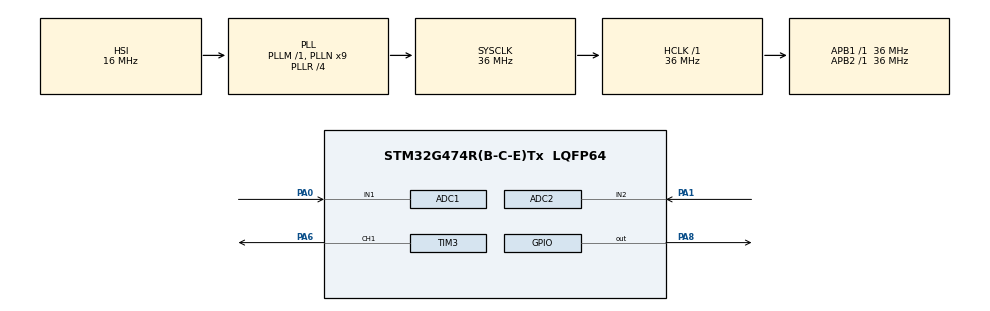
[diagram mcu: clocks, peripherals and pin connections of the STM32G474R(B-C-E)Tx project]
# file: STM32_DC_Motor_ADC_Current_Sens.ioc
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ADC1.Channel-0\#ChannelRegularConversion=ADC_CHANNEL_1
ADC1.ClockPrescaler=ADC_CLOCK_ASYNC_DIV256
ADC1.ContinuousConvMode=ENABLE
ADC1.DMAContinuousRequests=ENABLE
ADC1.NbrOfConversionFlag=1
ADC1.OffsetNumber-0\#ChannelRegularConversion=ADC_OFFSET_NONE
ADC1.Rank-0\#ChannelRegularConversion=1
ADC1.SamplingTime-0\#ChannelRegularConversion=ADC_SAMPLETIME_2CYCLES_5
ADC1.master=1
ADC2.Channel-0\#ChannelRegularConversion=ADC_CHANNEL_2
ADC2.ClockPrescaler=ADC_CLOCK_ASYNC_DIV256
ADC2.ContinuousConvMode=ENABLE
ADC2.DMAContinuousRequests=ENABLE
ADC2.NbrOfConversionFlag=1
ADC2.OffsetNumber-0\#ChannelRegularConversion=ADC_OFFSET_NONE
ADC2.Rank-0\#ChannelRegularConversion=1
ADC2.SamplingTime-0\#ChannelRegularConversion=ADC_SAMPLETIME_2CYCLES_5
Dma.ADC1.0.Direction=DMA_PERIPH_TO_MEMORY
Dma.ADC1.0.EventEnable=DISABLE
Dma.ADC1.0.Instance=DMA1_Channel1
Dma.ADC1.0.MemDataAlignment=DMA_MDATAALIGN_HALFWORD
Dma.ADC1.0.MemInc=DMA_MINC_ENABLE
Dma.ADC1.0.Mode=DMA_CIRCULAR
Dma.ADC1.0.PeriphDataAlignment=DMA_PDATAALIGN_HALFWORD
Dma.ADC1.0.PeriphInc=DMA_PINC_DISABLE
Dma.ADC1.0.Polarity=HAL_DMAMUX_REQ_GEN_RISING
Dma.ADC1.0.Priority=DMA_PRIORITY_LOW
Dma.ADC1.0.RequestNumber=1
Dma.ADC1.0.SignalID=NONE
Dma.ADC1.0.SyncEnable=DISABLE
Dma.ADC1.0.SyncPolarity=HAL_DMAMUX_SYNC_NO_EVENT
Dma.ADC1.0.SyncRequestNumber=1
Dma.ADC1.0.SyncSignalID=NONE
Dma.ADC2.1.Direction=DMA_PERIPH_TO_MEMORY
Dma.ADC2.1.EventEnable=DISABLE
Dma.ADC2.1.Instance=DMA1_Channel2
Dma.ADC2.1.MemDataAlignment=DMA_MDATAALIGN_HALFWORD
Dma.ADC2.1.MemInc=DMA_MINC_ENABLE
Dma.ADC2.1.Mode=DMA_CIRCULAR
Dma.ADC2.1.PeriphDataAlignment=DMA_PDATAALIGN_HALFWORD
Dma.ADC2.1.PeriphInc=DMA_PINC_DISABLE
Dma.ADC2.1.Polarity=HAL_DMAMUX_REQ_GEN_RISING
Dma.ADC2.1.Priority=DMA_PRIORITY_LOW
Dma.ADC2.1.RequestNumber=1
Dma.ADC2.1.SignalID=NONE
Dma.ADC2.1.SyncEnable=DISABLE
Dma.ADC2.1.SyncPolarity=HAL_DMAMUX_SYNC_NO_EVENT
Dma.ADC2.1.SyncRequestNumber=1
Dma.ADC2.1.SyncSignalID=NONE
Dma.Request0=ADC1
Dma.Request1=ADC2
Mcu.Family=STM32G4
Mcu.Name=STM32G474R(B-C-E)Tx
Mcu.Package=LQFP64
NVIC.DMA1_Channel1_IRQn=true\:0\:0\:false\:false\:true\:false\:true\:true
NVIC.DMA1_Channel2_IRQn=true\:0\:0\:false\:false\:true\:false\:true\:true
NVIC.PriorityGroup=NVIC_PRIORITYGROUP_4
PA0.Mode=IN1-Single-Ended
PA0.Signal=ADC1_IN1
PA1.Mode=IN2-Single-Ended
PA1.Signal=ADC2_IN2
PA6.Signal=S_TIM3_CH1
PA8.Signal=GPIO_Output
PC14-OSC32_IN.Mode=LSE-External-Oscillator
PC14-OSC32_IN.Signal=RCC_OSC32_IN
PC15-OSC32_OUT.Mode=LSE-External-Oscillator
PC15-OSC32_OUT.Signal=RCC_OSC32_OUT
PF0-OSC_IN.Mode=HSE-External-Oscillator
PF0-OSC_IN.Signal=RCC_OSC_IN
PF1-OSC_OUT.Mode=HSE-External-Oscillator
PF1-OSC_OUT.Signal=RCC_OSC_OUT
ProjectManager.HeapSize=0x200
ProjectManager.StackSize=0x400
ProjectManager.TargetToolchain=STM32CubeIDE
RCC.ADC12Freq_Value=36000000
RCC.ADC345Freq_Value=36000000
RCC.AHBFreq_Value=36000000
RCC.APB1Freq_Value=36000000
RCC.APB1TimFreq_Value=36000000
RCC.APB2Freq_Value=36000000
RCC.APB2TimFreq_Value=36000000
RCC.CortexFreq_Value=36000000
RCC.EXTERNAL_CLOCK_VALUE=12288000
RCC.HCLKFreq_Value=36000000
RCC.HSE_VALUE=24000000
RCC.HSI48_VALUE=48000000
RCC.HSI_VALUE=16000000
RCC.PLLN=9
RCC.PLLR=RCC_PLLR_DIV4
RCC.RTCClockSelection=RCC_RTCCLKSOURCE_LSE
RCC.SYSCLKFreq_VALUE=36000000
RCC.SYSCLKSource=RCC_SYSCLKSOURCE_PLLCLK
RCC.USBFreq_Value=72000000
RCC.VCOOutputFreq_Value=144000000
SH.S_TIM3_CH1.0=TIM3_CH1,PWM Generation1 CH1
TIM3.Channel-PWM\ Generation1\ CH1=TIM_CHANNEL_1
TIM3.OCPolarity_1=TIM_OCPOLARITY_HIGH
TIM3.PeriodNoDither=0
TIM3.Prescaler=0
TIM3.PulseNoDither_1=100
VP_SYS_VS_DBSignals.Mode=DisableDeadBatterySignals
VP_TIM3_VS_ClockSourceINT.Mode=Internal
board=NUCLEO-G474RE

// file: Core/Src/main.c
/* USER CODE BEGIN Header */
/**
  ******************************************************************************
  * @file           : main.c
  * @brief          : Main program body
  ******************************************************************************
  * @attention
  *
  * Copyright (c) 2023 STMicroelectronics.
  * All rights reserved.
  *
  * This software is licensed under terms that can be found in the LICENSE file
  * in the root directory of this software component.
  * If no LICENSE file comes with this software, it is provided AS-IS.
  *
  ******************************************************************************
  */
/* USER CODE END Header */
#include "main.h"

/* USER CODE BEGIN Includes */
#include <math.h>
/* USER CODE END Includes */

/* USER CODE BEGIN PD */
#define ADC_BUF_LEN 10000
float avr_data;
/* USER CODE END PD */

ADC_HandleTypeDef hadc1;
ADC_HandleTypeDef hadc2;
DMA_HandleTypeDef hdma_adc1;
DMA_HandleTypeDef hdma_adc2;

TIM_HandleTypeDef htim3;

/* USER CODE BEGIN PV */
uint16_t adc1_buf[ADC_BUF_LEN];
uint16_t adc2_buf[ADC_BUF_LEN];
int data [ADC_BUF_LEN];
float rms_data;
float rms_vol_mV;
float avr_vol_mV;
int is_reversed;
int sum1;
int sum2;

/* USER CODE END PV */

void SystemClock_Config(void);
static void MX_GPIO_Init(void);
static void MX_DMA_Init(void);
static void MX_TIM3_Init(void);
static void MX_ADC1_Init(void);
static void MX_ADC2_Init(void);
/* USER CODE BEGIN PFP */
void AVR_Calculator(void);
void RMS_Calculator(void);
void Overcurrent_Handler(void);
/* USER CODE END PFP */

/* USER CODE BEGIN 0 */

void AVR_Calculator(void) {

	int i;

	for (i = 0; i < ADC_BUF_LEN; i++) {
		sum1 += adc1_buf[i];
		sum2 += adc2_buf[i];
	}

	avr_data = (float)(sum1-sum2)/ADC_BUF_LEN;
	avr_vol_mV = avr_data/4096*3300;
	sum1 = 0;
	sum2 = 0;
}
void RMS_Calculator(void) {
	AVR_Calculator();
	int i;
	float sum;
	for (i = 0; i < ADC_BUF_LEN; i++) {
		sum += (float)(((int)data[i]-avr_data)*((int)data[i]-avr_data));
	}
	rms_data = sqrt(sum/ADC_BUF_LEN);
	rms_vol_mV = rms_data/4096*3300;
	sum = 0;
}
void Overcurrent_Handler(void) {
	if (rms_vol_mV > 9.5) {
		HAL_GPIO_TogglePin(GPIOA, GPIO_PIN_8);
		HAL_Delay(4000);
		HAL_GPIO_TogglePin(GPIOA, GPIO_PIN_8);
		HAL_Delay(3000);
	}
}

/* USER CODE END 0 */

int main(void)
{

  /* MCU Configuration--------------------------------------------------------*/

  /* Reset of all peripherals, Initializes the Flash interface and the Systick. */
  HAL_Init();

  /* Configure the system clock */
  SystemClock_Config();

  /* Initialize all configured peripherals */
  MX_GPIO_Init();
  MX_DMA_Init();
  MX_TIM3_Init();
  MX_ADC1_Init();
  MX_ADC2_Init();
  /* USER CODE BEGIN 2 */
  HAL_TIM_PWM_Start(&htim3, TIM_CHANNEL_1);
  HAL_ADC_Start_DMA(&hadc1, (uint16_t*)adc1_buf, ADC_BUF_LEN);
  HAL_ADC_Start_DMA(&hadc2, (uint16_t*)adc2_buf, ADC_BUF_LEN);
  /* USER CODE END 2 */

  /* Infinite loop */
  /* USER CODE BEGIN WHILE */
  while (1)
  {
	  RMS_Calculator();
	  Overcurrent_Handler();
	  HAL_Delay(20);

    /* USER CODE END WHILE */

  }
}

void SystemClock_Config(void)
{
  RCC_OscInitTypeDef RCC_OscInitStruct = {0};
  RCC_ClkInitTypeDef RCC_ClkInitStruct = {0};

  /** Configure the main internal regulator output voltage
  */
  HAL_PWREx_ControlVoltageScaling(PWR_REGULATOR_VOLTAGE_SCALE1);

  /** Initializes the RCC Oscillators according to the specified parameters
  * in the RCC_OscInitTypeDef structure.
  */
  RCC_OscInitStruct.OscillatorType = RCC_OSCILLATORTYPE_HSI;
  RCC_OscInitStruct.HSIState = RCC_HSI_ON;
  RCC_OscInitStruct.HSICalibrationValue = RCC_HSICALIBRATION_DEFAULT;
  RCC_OscInitStruct.PLL.PLLState = RCC_PLL_ON;
  RCC_OscInitStruct.PLL.PLLSource = RCC_PLLSOURCE_HSI;
  RCC_OscInitStruct.PLL.PLLM = RCC_PLLM_DIV1;
  RCC_OscInitStruct.PLL.PLLN = 9;
  RCC_OscInitStruct.PLL.PLLP = RCC_PLLP_DIV2;
  RCC_OscInitStruct.PLL.PLLQ = RCC_PLLQ_DIV2;
  RCC_OscInitStruct.PLL.PLLR = RCC_PLLR_DIV4;
  if (HAL_RCC_OscConfig(&RCC_OscInitStruct) != HAL_OK)
  {
    Error_Handler();
  }

  /** Initializes the CPU, AHB and APB buses clocks
  */
  RCC_ClkInitStruct.ClockType = RCC_CLOCKTYPE_HCLK|RCC_CLOCKTYPE_SYSCLK
                              |RCC_CLOCKTYPE_PCLK1|RCC_CLOCKTYPE_PCLK2;
  RCC_ClkInitStruct.SYSCLKSource = RCC_SYSCLKSOURCE_PLLCLK;
  RCC_ClkInitStruct.AHBCLKDivider = RCC_SYSCLK_DIV1;
  RCC_ClkInitStruct.APB1CLKDivider = RCC_HCLK_DIV1;
  RCC_ClkInitStruct.APB2CLKDivider = RCC_HCLK_DIV1;

  if (HAL_RCC_ClockConfig(&RCC_ClkInitStruct, FLASH_LATENCY_1) != HAL_OK)
  {
    Error_Handler();
  }
}

static void MX_ADC1_Init(void)
{

  ADC_MultiModeTypeDef multimode = {0};
  ADC_ChannelConfTypeDef sConfig = {0};

  /** Common config
  */
  hadc1.Instance = ADC1;
  hadc1.Init.ClockPrescaler = ADC_CLOCK_ASYNC_DIV256;
  hadc1.Init.Resolution = ADC_RESOLUTION_12B;
  hadc1.Init.DataAlign = ADC_DATAALIGN_RIGHT;
  hadc1.Init.GainCompensation = 0;
  hadc1.Init.ScanConvMode = ADC_SCAN_DISABLE;
  hadc1.Init.EOCSelection = ADC_EOC_SINGLE_CONV;
  hadc1.Init.LowPowerAutoWait = DISABLE;
  hadc1.Init.ContinuousConvMode = ENABLE;
  hadc1.Init.NbrOfConversion = 1;
  hadc1.Init.DiscontinuousConvMode = DISABLE;
  hadc1.Init.ExternalTrigConv = ADC_SOFTWARE_START;
  hadc1.Init.ExternalTrigConvEdge = ADC_EXTERNALTRIGCONVEDGE_NONE;
  hadc1.Init.DMAContinuousRequests = ENABLE;
  hadc1.Init.Overrun = ADC_OVR_DATA_PRESERVED;
  hadc1.Init.OversamplingMode = DISABLE;
  if (HAL_ADC_Init(&hadc1) != HAL_OK)
  {
    Error_Handler();
  }

  /** Configure the ADC multi-mode
  */
  multimode.Mode = ADC_MODE_INDEPENDENT;
  if (HAL_ADCEx_MultiModeConfigChannel(&hadc1, &multimode) != HAL_OK)
  {
    Error_Handler();
  }

  /** Configure Regular Channel
  */
  sConfig.Channel = ADC_CHANNEL_1;
  sConfig.Rank = ADC_REGULAR_RANK_1;
  sConfig.SamplingTime = ADC_SAMPLETIME_2CYCLES_5;
  sConfig.SingleDiff = ADC_SINGLE_ENDED;
  sConfig.OffsetNumber = ADC_OFFSET_NONE;
  sConfig.Offset = 0;
  if (HAL_ADC_ConfigChannel(&hadc1, &sConfig) != HAL_OK)
  {
    Error_Handler();
  }

}

static void MX_ADC2_Init(void)
{

  ADC_ChannelConfTypeDef sConfig = {0};

  /** Common config
  */
  hadc2.Instance = ADC2;
  hadc2.Init.ClockPrescaler = ADC_CLOCK_ASYNC_DIV256;
  hadc2.Init.Resolution = ADC_RESOLUTION_12B;
  hadc2.Init.DataAlign = ADC_DATAALIGN_RIGHT;
  hadc2.Init.GainCompensation = 0;
  hadc2.Init.ScanConvMode = ADC_SCAN_DISABLE;
  hadc2.Init.EOCSelection = ADC_EOC_SINGLE_CONV;
  hadc2.Init.LowPowerAutoWait = DISABLE;
  hadc2.Init.ContinuousConvMode = ENABLE;
  hadc2.Init.NbrOfConversion = 1;
  hadc2.Init.DiscontinuousConvMode = DISABLE;
  hadc2.Init.ExternalTrigConv = ADC_SOFTWARE_START;
  hadc2.Init.ExternalTrigConvEdge = ADC_EXTERNALTRIGCONVEDGE_NONE;
  hadc2.Init.DMAContinuousRequests = ENABLE;
  hadc2.Init.Overrun = ADC_OVR_DATA_PRESERVED;
  hadc2.Init.OversamplingMode = DISABLE;
  if (HAL_ADC_Init(&hadc2) != HAL_OK)
  {
    Error_Handler();
  }

  /** Configure Regular Channel
  */
  sConfig.Channel = ADC_CHANNEL_2;
  sConfig.Rank = ADC_REGULAR_RANK_1;
  sConfig.SamplingTime = ADC_SAMPLETIME_2CYCLES_5;
  sConfig.SingleDiff = ADC_SINGLE_ENDED;
  sConfig.OffsetNumber = ADC_OFFSET_NONE;
  sConfig.Offset = 0;
  if (HAL_ADC_ConfigChannel(&hadc2, &sConfig) != HAL_OK)
  {
    Error_Handler();
  }

}

static void MX_TIM3_Init(void)
{

  TIM_ClockConfigTypeDef sClockSourceConfig = {0};
  TIM_MasterConfigTypeDef sMasterConfig = {0};
  TIM_OC_InitTypeDef sConfigOC = {0};

  htim3.Instance = TIM3;
  htim3.Init.Prescaler = 0;
  htim3.Init.CounterMode = TIM_COUNTERMODE_UP;
  htim3.Init.Period = 0;
  htim3.Init.ClockDivision = TIM_CLOCKDIVISION_DIV1;
  htim3.Init.AutoReloadPreload = TIM_AUTORELOAD_PRELOAD_DISABLE;
  if (HAL_TIM_Base_Init(&htim3) != HAL_OK)
  {
    Error_Handler();
  }
  sClockSourceConfig.ClockSource = TIM_CLOCKSOURCE_INTERNAL;
  if (HAL_TIM_ConfigClockSource(&htim3, &sClockSourceConfig) != HAL_OK)
  {
    Error_Handler();
  }
  if (HAL_TIM_PWM_Init(&htim3) != HAL_OK)
  {
    Error_Handler();
  }
  sMasterConfig.MasterOutputTrigger = TIM_TRGO_RESET;
  sMasterConfig.MasterSlaveMode = TIM_MASTERSLAVEMODE_DISABLE;
  if (HAL_TIMEx_MasterConfigSynchronization(&htim3, &sMasterConfig) != HAL_OK)
  {
    Error_Handler();
  }
  sConfigOC.OCMode = TIM_OCMODE_PWM1;
  sConfigOC.Pulse = 100;
  sConfigOC.OCPolarity = TIM_OCPOLARITY_HIGH;
  sConfigOC.OCFastMode = TIM_OCFAST_DISABLE;
  if (HAL_TIM_PWM_ConfigChannel(&htim3, &sConfigOC, TIM_CHANNEL_1) != HAL_OK)
  {
    Error_Handler();
  }
  HAL_TIM_MspPostInit(&htim3);

}

static void MX_DMA_Init(void)
{

  /* DMA controller clock enable */
  __HAL_RCC_DMAMUX1_CLK_ENABLE();
  __HAL_RCC_DMA1_CLK_ENABLE();

  /* DMA interrupt init */
  /* DMA1_Channel1_IRQn interrupt configuration */
  HAL_NVIC_SetPriority(DMA1_Channel1_IRQn, 0, 0);
  HAL_NVIC_EnableIRQ(DMA1_Channel1_IRQn);
  /* DMA1_Channel2_IRQn interrupt configuration */
  HAL_NVIC_SetPriority(DMA1_Channel2_IRQn, 0, 0);
  HAL_NVIC_EnableIRQ(DMA1_Channel2_IRQn);

}

static void MX_GPIO_Init(void)
{
  GPIO_InitTypeDef GPIO_InitStruct = {0};

  /* GPIO Ports Clock Enable */
  __HAL_RCC_GPIOC_CLK_ENABLE();
  __HAL_RCC_GPIOF_CLK_ENABLE();
  __HAL_RCC_GPIOA_CLK_ENABLE();

  /*Configure GPIO pin Output Level */
  HAL_GPIO_WritePin(GPIOA, GPIO_PIN_8, GPIO_PIN_RESET);

  /*Configure GPIO pin : PA8 */
  GPIO_InitStruct.Pin = GPIO_PIN_8;
  GPIO_InitStruct.Mode = GPIO_MODE_OUTPUT_PP;
  GPIO_InitStruct.Pull = GPIO_NOPULL;
  GPIO_InitStruct.Speed = GPIO_SPEED_FREQ_LOW;
  HAL_GPIO_Init(GPIOA, &GPIO_InitStruct);

}

void Error_Handler(void)
{
  __disable_irq();
  while (1)
  {
  }
}
